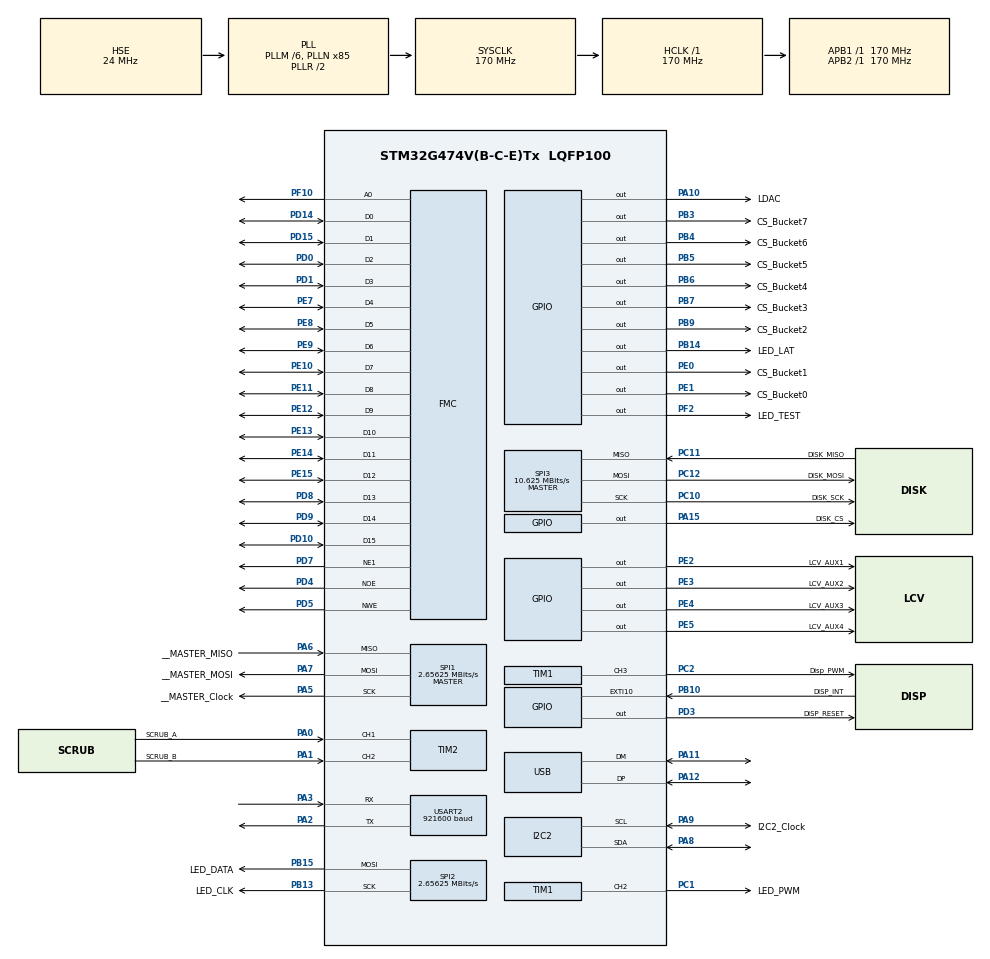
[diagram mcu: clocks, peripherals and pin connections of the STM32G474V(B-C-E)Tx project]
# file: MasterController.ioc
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Dma.Request0=SPI2_TX
Dma.SPI2_TX.0.Direction=DMA_MEMORY_TO_PERIPH
Dma.SPI2_TX.0.EventEnable=DISABLE
Dma.SPI2_TX.0.Instance=DMA1_Channel1
Dma.SPI2_TX.0.MemDataAlignment=DMA_MDATAALIGN_BYTE
Dma.SPI2_TX.0.MemInc=DMA_MINC_ENABLE
Dma.SPI2_TX.0.Mode=DMA_NORMAL
Dma.SPI2_TX.0.PeriphDataAlignment=DMA_PDATAALIGN_BYTE
Dma.SPI2_TX.0.PeriphInc=DMA_PINC_DISABLE
Dma.SPI2_TX.0.Polarity=HAL_DMAMUX_REQ_GEN_RISING
Dma.SPI2_TX.0.Priority=DMA_PRIORITY_LOW
Dma.SPI2_TX.0.RequestNumber=1
Dma.SPI2_TX.0.SignalID=NONE
Dma.SPI2_TX.0.SyncEnable=DISABLE
Dma.SPI2_TX.0.SyncPolarity=HAL_DMAMUX_SYNC_NO_EVENT
Dma.SPI2_TX.0.SyncRequestNumber=1
Dma.SPI2_TX.0.SyncSignalID=NONE
FREERTOS.Tasks01=defaultTask,24,128,StartDefaultTask,Default,NULL,Dynamic,NULL,NULL
FREERTOS.configTOTAL_HEAP_SIZE=32768
I2C2.Timing=0x40B285C2
Mcu.Family=STM32G4
Mcu.Name=STM32G474V(B-C-E)Tx
Mcu.Package=LQFP100
NVIC.DMA1_Channel1_IRQn=true\:5\:0\:false\:false\:true\:true\:false\:true\:true
NVIC.PriorityGroup=NVIC_PRIORITYGROUP_4
NVIC.SPI2_IRQn=true\:5\:0\:false\:false\:true\:true\:true\:true\:true
NVIC.TIM7_DAC_IRQn=true\:15\:0\:false\:false\:true\:false\:false\:true\:true
NVIC.TimeBase=TIM7_DAC_IRQn
NVIC.TimeBaseIP=TIM7
PA0.GPIO_Label=SCRUB_A
PA0.Signal=S_TIM2_CH1
PA1.GPIO_Label=SCRUB_B
PA1.Signal=S_TIM2_CH2
PA10.GPIO_Label=LDAC
PA10.Signal=GPIO_Output
PA11.Mode=Device
PA11.Signal=USB_DM
PA12.Mode=Device
PA12.Signal=USB_DP
PA13.GPIO_Label=SWD_SWDIO
PA13.Mode=Serial_Wire
PA13.Signal=SYS_JTMS-SWDIO
PA14.GPIO_Label=SWD_SWCLK
PA14.Mode=Serial_Wire
PA14.Signal=SYS_JTCK-SWCLK
PA15.GPIO_Label=DISK_CS
PA15.PinState=GPIO_PIN_SET
PA15.Signal=GPIO_Output
PA2.Mode=Asynchronous
PA2.Signal=USART2_TX
PA3.Mode=Asynchronous
PA3.Signal=USART2_RX
PA5.GPIO_Label=__MASTER_Clock
PA5.Mode=Full_Duplex_Master
PA5.Signal=SPI1_SCK
PA6.GPIO_Label=__MASTER_MISO
PA6.Mode=Full_Duplex_Master
PA6.Signal=SPI1_MISO
PA7.GPIO_Label=__MASTER_MOSI
PA7.Mode=Full_Duplex_Master
PA7.Signal=SPI1_MOSI
PA8.Mode=I2C
PA8.Signal=I2C2_SDA
PA9.GPIO_Label=I2C2_Clock
PA9.Mode=I2C
PA9.Signal=I2C2_SCL
PB10.GPIO_Label=DISP_INT
PB10.Signal=GPXTI10
PB13.GPIO_Label=LED_CLK
PB13.Mode=TX_Only_Simplex_Unidirect_Master
PB13.Signal=SPI2_SCK
PB14.GPIO_Label=LED_LAT
PB14.Signal=GPIO_Output
PB15.GPIO_Label=LED_DATA
PB15.Mode=TX_Only_Simplex_Unidirect_Master
PB15.Signal=SPI2_MOSI
PB3.GPIO_Label=CS_Bucket7
PB3.PinState=GPIO_PIN_SET
PB3.Signal=GPIO_Output
PB4.GPIO_Label=CS_Bucket6
PB4.PinState=GPIO_PIN_SET
PB4.Signal=GPIO_Output
PB5.GPIO_Label=CS_Bucket5
PB5.PinState=GPIO_PIN_SET
PB5.Signal=GPIO_Output
PB6.GPIO_Label=CS_Bucket4
PB6.PinState=GPIO_PIN_SET
PB6.Signal=GPIO_Output
PB7.GPIO_Label=CS_Bucket3
PB7.PinState=GPIO_PIN_SET
PB7.Signal=GPIO_Output
PB9.GPIO_Label=CS_Bucket2
PB9.PinState=GPIO_PIN_SET
PB9.Signal=GPIO_Output
PC1.GPIO_Label=LED_PWM
PC1.Signal=S_TIM1_CH2
PC10.GPIO_Label=DISK_SCK
PC10.Mode=Full_Duplex_Master
PC10.Signal=SPI3_SCK
PC11.GPIO_Label=DISK_MISO
PC11.Mode=Full_Duplex_Master
PC11.Signal=SPI3_MISO
PC12.GPIO_Label=DISK_MOSI
PC12.Mode=Full_Duplex_Master
PC12.Signal=SPI3_MOSI
PC2.GPIO_Label=Disp_PWM
PC2.Signal=S_TIM1_CH3
PD0.Mode=16b-d1
PD0.Signal=FMC_D2
PD1.Mode=16b-d1
PD1.Signal=FMC_D3
PD10.Mode=16b-d1
PD10.Signal=FMC_D15
PD14.Mode=16b-d1
PD14.Signal=FMC_D0
PD15.Mode=16b-d1
PD15.Signal=FMC_D1
PD3.GPIO_Label=DISP_RESET
PD3.GPIO_ModeDefaultOutputPP=GPIO_MODE_OUTPUT_OD
PD3.GPIO_PuPd=GPIO_NOPULL
PD3.Signal=GPIO_Output
PD4.Mode=Lcd1
PD4.Signal=FMC_NOE
PD5.Mode=Lcd1
PD5.Signal=FMC_NWE
PD6.Signal=FMC_NWAIT
PD7.Mode=NorPsramChipSelect1_1
PD7.Signal=FMC_NE1
PD8.Mode=16b-d1
PD8.Signal=FMC_D13
PD9.Mode=16b-d1
PD9.Signal=FMC_D14
PE0.GPIO_Label=CS_Bucket1
PE0.PinState=GPIO_PIN_SET
PE0.Signal=GPIO_Output
PE1.GPIO_Label=CS_Bucket0
PE1.PinState=GPIO_PIN_SET
PE1.Signal=GPIO_Output
PE10.Mode=16b-d1
PE10.Signal=FMC_D7
PE11.Mode=16b-d1
PE11.Signal=FMC_D8
PE12.Mode=16b-d1
PE12.Signal=FMC_D9
PE13.Mode=16b-d1
PE13.Signal=FMC_D10
PE14.Mode=16b-d1
PE14.Signal=FMC_D11
PE15.Mode=16b-d1
PE15.Signal=FMC_D12
PE2.GPIO_Label=LCV_AUX1
PE2.Signal=GPIO_Output
PE3.GPIO_Label=LCV_AUX2
PE3.Signal=GPIO_Output
PE4.GPIO_Label=LCV_AUX3
PE4.Signal=GPIO_Output
PE5.GPIO_Label=LCV_AUX4
PE5.Signal=GPIO_Output
PE7.Mode=16b-d1
PE7.Signal=FMC_D4
PE8.Mode=16b-d1
PE8.Signal=FMC_D5
PE9.Mode=16b-d1
PE9.Signal=FMC_D6
PF0-OSC_IN.GPIO_Label=_OSC_IN
PF0-OSC_IN.Mode=HSE-External-Oscillator
PF0-OSC_IN.Signal=RCC_OSC_IN
PF1-OSC_OUT.GPIO_Label=_OSC_OUT
PF1-OSC_OUT.Mode=HSE-External-Oscillator
PF1-OSC_OUT.Signal=RCC_OSC_OUT
PF10.Mode=A0_1
PF10.Signal=FMC_A0
PF2.GPIO_Label=LED_TEST
PF2.Signal=GPIO_Output
ProjectManager.HeapSize=0x200
ProjectManager.StackSize=0x400
ProjectManager.TargetToolchain=CMake
RCC.ADC12Freq_Value=170000000
RCC.ADC345Freq_Value=170000000
RCC.AHBFreq_Value=170000000
RCC.APB1Freq_Value=170000000
RCC.APB1TimFreq_Value=170000000
RCC.APB2Freq_Value=170000000
RCC.APB2TimFreq_Value=170000000
RCC.CK48CLockSelection=RCC_USBCLKSOURCE_HSI48
RCC.CortexFreq_Value=170000000
RCC.EXTERNAL_CLOCK_VALUE=12288000
RCC.HCLKFreq_Value=170000000
RCC.HSE_VALUE=24000000
RCC.HSI48_VALUE=48000000
RCC.HSI_VALUE=16000000
RCC.LSE_VALUE=32768
RCC.PLLM=RCC_PLLM_DIV6
RCC.PLLN=85
RCC.PLLSourceVirtual=RCC_PLLSOURCE_HSE
RCC.SYSCLKFreq_VALUE=170000000
RCC.SYSCLKSource=RCC_SYSCLKSOURCE_PLLCLK
RCC.USBFreq_Value=48000000
RCC.VCOOutputFreq_Value=340000000
SH.S_TIM1_CH2.0=TIM1_CH2,PWM Generation2 CH2
SH.S_TIM1_CH3.0=TIM1_CH3,PWM Generation3 CH3
SH.S_TIM2_CH1.0=TIM2_CH1,Encoder_Interface
SH.S_TIM2_CH2.0=TIM2_CH2,Encoder_Interface
SPI1.BaudRatePrescaler=SPI_BAUDRATEPRESCALER_64
SPI1.CalculateBaudRate=2.65625 MBits/s
SPI1.DataSize=SPI_DATASIZE_8BIT
SPI1.Direction=SPI_DIRECTION_2LINES
SPI1.Mode=SPI_MODE_MASTER
SPI1.NSSPMode=SPI_NSS_PULSE_DISABLE
SPI1.VirtualType=VM_MASTER
SPI2.BaudRatePrescaler=SPI_BAUDRATEPRESCALER_64
SPI2.CLKPhase=SPI_PHASE_2EDGE
SPI2.CalculateBaudRate=2.65625 MBits/s
SPI2.DataSize=SPI_DATASIZE_8BIT
SPI2.Direction=SPI_DIRECTION_2LINES
SPI2.Mode=SPI_MODE_MASTER
SPI2.VirtualType=VM_MASTER
SPI3.BaudRatePrescaler=SPI_BAUDRATEPRESCALER_16
SPI3.CalculateBaudRate=10.625 MBits/s
SPI3.Direction=SPI_DIRECTION_2LINES
SPI3.Mode=SPI_MODE_MASTER
SPI3.VirtualType=VM_MASTER
TIM1.Channel-PWM\ Generation2\ CH2=TIM_CHANNEL_2
TIM1.Channel-PWM\ Generation3\ CH3=TIM_CHANNEL_3
TIM1.PeriodNoDither=7083
USART2.BaudRate=921600
USART2.VirtualMode-Asynchronous=VM_ASYNC
VP_FATFS_VS_Generic.Mode=User_defined
VP_FREERTOS_VS_CMSIS_V2.Mode=CMSIS_V2
VP_RCC_VS_USB.Mode=USB_FS
VP_SYS_VS_DBSignals.Mode=DisableDeadBatterySignals
VP_SYS_VS_tim7.Mode=TIM7
board=custom

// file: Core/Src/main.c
/* USER CODE BEGIN Header */
/**
  ******************************************************************************
  * @file           : main.c
  * @brief          : Main program body
  ******************************************************************************
  * @attention
  *
  * Copyright (c) 2026 STMicroelectronics.
  * All rights reserved.
  *
  * This software is licensed under terms that can be found in the LICENSE file
  * in the root directory of this software component.
  * If no LICENSE file comes with this software, it is provided AS-IS.
  *
  ******************************************************************************
  */
/* USER CODE END Header */
#include "main.h"
#include "cmsis_os.h"
#include "app_fatfs.h"

/* USER CODE BEGIN Includes */
#include "FreeRTOS_apps/usb_device_task.h"
#include "hardware_drivers/bucket_spi.h"
#include "FreeRTOS_apps/remote_cmd_handler.h"
#include "FreeRTOS_apps/daw_control.h"
/* USER CODE END Includes */

I2C_HandleTypeDef hi2c2;

SPI_HandleTypeDef hspi1;
SPI_HandleTypeDef hspi2;
SPI_HandleTypeDef hspi3;
DMA_HandleTypeDef hdma_spi2_tx;

TIM_HandleTypeDef htim1;
TIM_HandleTypeDef htim2;

UART_HandleTypeDef huart2;

PCD_HandleTypeDef hpcd_USB_FS;

SRAM_HandleTypeDef hsram1;

/* Definitions for defaultTask */
osThreadId_t defaultTaskHandle;
const osThreadAttr_t defaultTask_attributes = {
  .name = "defaultTask",
  .priority = (osPriority_t) osPriorityNormal,
  .stack_size = 128 * 4
};

void SystemClock_Config(void);
static void MX_GPIO_Init(void);
static void MX_DMA_Init(void);
static void MX_I2C2_Init(void);
static void MX_SPI1_Init(void);
static void MX_SPI2_Init(void);
static void MX_SPI3_Init(void);
static void MX_TIM1_Init(void);
static void MX_USB_PCD_Init(void);
static void MX_FMC_Init(void);
static void MX_USART2_UART_Init(void);
static void MX_TIM2_Init(void);
void StartDefaultTask(void *argument);

int main(void)
{

  /* MCU Configuration--------------------------------------------------------*/

  /* Reset of all peripherals, Initializes the Flash interface and the Systick. */
  HAL_Init();

  /* Configure the system clock */
  SystemClock_Config();

  /* USER CODE BEGIN SysInit */
  // The USB clock (HSI48) has to be within 0.25% of 48 MHz. SystemClock_Config() sets the
  // CRS trim to 32, but on the G4 the trim is 7 bits with its middle at 64
  // (RCC_CRS_HSI48CALIBRATION_DEFAULT, about 67 kHz per step): 32 runs HSI48 about 2.1 MHz
  // (4.5%) slow, so USB can't receive a single packet, and the CRS never gets the
  // start-of-frame packets it would use to correct it. Start from the middle instead; the
  // CRS then fine-tunes it from the computer's start-of-frame packets once USB is running.
  // (Kept here because CubeMX regenerates SystemClock_Config with 32.)
  RCC_CRSInitTypeDef crs = {0};
  crs.Prescaler             = RCC_CRS_SYNC_DIV1;
  crs.Source                = RCC_CRS_SYNC_SOURCE_USB;
  crs.Polarity              = RCC_CRS_SYNC_POLARITY_RISING;
  crs.ReloadValue           = __HAL_RCC_CRS_RELOADVALUE_CALCULATE(48000000, 1000);
  crs.ErrorLimitValue       = RCC_CRS_ERRORLIMIT_DEFAULT;
  crs.HSI48CalibrationValue = RCC_CRS_HSI48CALIBRATION_DEFAULT;
  HAL_RCCEx_CRSConfig(&crs);
  /* USER CODE END SysInit */

  /* Initialize all configured peripherals */
  MX_GPIO_Init();
  MX_DMA_Init();
  MX_I2C2_Init();
  MX_SPI1_Init();
  MX_SPI2_Init();
  MX_SPI3_Init();
  MX_TIM1_Init();
  MX_USB_PCD_Init();
  if (MX_FATFS_Init() != APP_OK) {
    Error_Handler();
  }
  MX_FMC_Init();
  MX_USART2_UART_Init();
  MX_TIM2_Init();

  /* Init scheduler */
  osKernelInitialize();

  /* Create the thread(s) */
  /* creation of defaultTask */
  defaultTaskHandle = osThreadNew(StartDefaultTask, NULL, &defaultTask_attributes);

  /* USER CODE BEGIN RTOS_THREADS */
  usb_device_start();
  bucket_spi_init();
  remote_cmd_init();
  daw_control_init();
  /* USER CODE END RTOS_THREADS */

  /* Start scheduler */
  osKernelStart();

  /* We should never get here as control is now taken by the scheduler */

  /* Infinite loop */
  while (1)
  {

  }
}

void SystemClock_Config(void)
{
  RCC_OscInitTypeDef RCC_OscInitStruct = {0};
  RCC_ClkInitTypeDef RCC_ClkInitStruct = {0};
  RCC_CRSInitTypeDef pInit = {0};

  /** Configure the main internal regulator output voltage
  */
  HAL_PWREx_ControlVoltageScaling(PWR_REGULATOR_VOLTAGE_SCALE1_BOOST);

  /** Initializes the RCC Oscillators according to the specified parameters
  * in the RCC_OscInitTypeDef structure.
  */
  RCC_OscInitStruct.OscillatorType = RCC_OSCILLATORTYPE_HSI48|RCC_OSCILLATORTYPE_HSE;
  RCC_OscInitStruct.HSEState = RCC_HSE_ON;
  RCC_OscInitStruct.HSI48State = RCC_HSI48_ON;
  RCC_OscInitStruct.PLL.PLLState = RCC_PLL_ON;
  RCC_OscInitStruct.PLL.PLLSource = RCC_PLLSOURCE_HSE;
  RCC_OscInitStruct.PLL.PLLM = RCC_PLLM_DIV6;
  RCC_OscInitStruct.PLL.PLLN = 85;
  RCC_OscInitStruct.PLL.PLLP = RCC_PLLP_DIV2;
  RCC_OscInitStruct.PLL.PLLQ = RCC_PLLQ_DIV2;
  RCC_OscInitStruct.PLL.PLLR = RCC_PLLR_DIV2;
  if (HAL_RCC_OscConfig(&RCC_OscInitStruct) != HAL_OK)
  {
    Error_Handler();
  }

  /** Initializes the CPU, AHB and APB buses clocks
  */
  RCC_ClkInitStruct.ClockType = RCC_CLOCKTYPE_HCLK|RCC_CLOCKTYPE_SYSCLK
                              |RCC_CLOCKTYPE_PCLK1|RCC_CLOCKTYPE_PCLK2;
  RCC_ClkInitStruct.SYSCLKSource = RCC_SYSCLKSOURCE_PLLCLK;
  RCC_ClkInitStruct.AHBCLKDivider = RCC_SYSCLK_DIV1;
  RCC_ClkInitStruct.APB1CLKDivider = RCC_HCLK_DIV1;
  RCC_ClkInitStruct.APB2CLKDivider = RCC_HCLK_DIV1;

  if (HAL_RCC_ClockConfig(&RCC_ClkInitStruct, FLASH_LATENCY_4) != HAL_OK)
  {
    Error_Handler();
  }

  /** Enable the SYSCFG APB clock
  */
  __HAL_RCC_CRS_CLK_ENABLE();

  /** Configures CRS
  */
  pInit.Prescaler = RCC_CRS_SYNC_DIV1;
  pInit.Source = RCC_CRS_SYNC_SOURCE_USB;
  pInit.Polarity = RCC_CRS_SYNC_POLARITY_RISING;
  pInit.ReloadValue = __HAL_RCC_CRS_RELOADVALUE_CALCULATE(48000000,1000);
  pInit.ErrorLimitValue = 34;
  pInit.HSI48CalibrationValue = 32;

  HAL_RCCEx_CRSConfig(&pInit);
}

static void MX_I2C2_Init(void)
{

  hi2c2.Instance = I2C2;
  hi2c2.Init.Timing = 0x40B285C2;
  hi2c2.Init.OwnAddress1 = 0;
  hi2c2.Init.AddressingMode = I2C_ADDRESSINGMODE_7BIT;
  hi2c2.Init.DualAddressMode = I2C_DUALADDRESS_DISABLE;
  hi2c2.Init.OwnAddress2 = 0;
  hi2c2.Init.OwnAddress2Masks = I2C_OA2_NOMASK;
  hi2c2.Init.GeneralCallMode = I2C_GENERALCALL_DISABLE;
  hi2c2.Init.NoStretchMode = I2C_NOSTRETCH_DISABLE;
  if (HAL_I2C_Init(&hi2c2) != HAL_OK)
  {
    Error_Handler();
  }

  /** Configure Analogue filter
  */
  if (HAL_I2CEx_ConfigAnalogFilter(&hi2c2, I2C_ANALOGFILTER_ENABLE) != HAL_OK)
  {
    Error_Handler();
  }

  /** Configure Digital filter
  */
  if (HAL_I2CEx_ConfigDigitalFilter(&hi2c2, 0) != HAL_OK)
  {
    Error_Handler();
  }

}

static void MX_SPI1_Init(void)
{

  /* SPI1 parameter configuration*/
  hspi1.Instance = SPI1;
  hspi1.Init.Mode = SPI_MODE_MASTER;
  hspi1.Init.Direction = SPI_DIRECTION_2LINES;
  hspi1.Init.DataSize = SPI_DATASIZE_8BIT;
  hspi1.Init.CLKPolarity = SPI_POLARITY_LOW;
  hspi1.Init.CLKPhase = SPI_PHASE_1EDGE;
  hspi1.Init.NSS = SPI_NSS_SOFT;
  hspi1.Init.BaudRatePrescaler = SPI_BAUDRATEPRESCALER_64;
  hspi1.Init.FirstBit = SPI_FIRSTBIT_MSB;
  hspi1.Init.TIMode = SPI_TIMODE_DISABLE;
  hspi1.Init.CRCCalculation = SPI_CRCCALCULATION_DISABLE;
  hspi1.Init.CRCPolynomial = 7;
  hspi1.Init.CRCLength = SPI_CRC_LENGTH_DATASIZE;
  hspi1.Init.NSSPMode = SPI_NSS_PULSE_DISABLE;
  if (HAL_SPI_Init(&hspi1) != HAL_OK)
  {
    Error_Handler();
  }

}

static void MX_SPI2_Init(void)
{

  /* SPI2 parameter configuration*/
  hspi2.Instance = SPI2;
  hspi2.Init.Mode = SPI_MODE_MASTER;
  hspi2.Init.Direction = SPI_DIRECTION_2LINES;
  hspi2.Init.DataSize = SPI_DATASIZE_8BIT;
  hspi2.Init.CLKPolarity = SPI_POLARITY_LOW;
  hspi2.Init.CLKPhase = SPI_PHASE_2EDGE;
  hspi2.Init.NSS = SPI_NSS_SOFT;
  hspi2.Init.BaudRatePrescaler = SPI_BAUDRATEPRESCALER_64;
  hspi2.Init.FirstBit = SPI_FIRSTBIT_MSB;
  hspi2.Init.TIMode = SPI_TIMODE_DISABLE;
  hspi2.Init.CRCCalculation = SPI_CRCCALCULATION_DISABLE;
  hspi2.Init.CRCPolynomial = 7;
  hspi2.Init.CRCLength = SPI_CRC_LENGTH_DATASIZE;
  hspi2.Init.NSSPMode = SPI_NSS_PULSE_DISABLE;
  if (HAL_SPI_Init(&hspi2) != HAL_OK)
  {
    Error_Handler();
  }

}

static void MX_SPI3_Init(void)
{

  /* SPI3 parameter configuration*/
  hspi3.Instance = SPI3;
  hspi3.Init.Mode = SPI_MODE_MASTER;
  hspi3.Init.Direction = SPI_DIRECTION_2LINES;
  hspi3.Init.DataSize = SPI_DATASIZE_4BIT;
  hspi3.Init.CLKPolarity = SPI_POLARITY_LOW;
  hspi3.Init.CLKPhase = SPI_PHASE_1EDGE;
  hspi3.Init.NSS = SPI_NSS_SOFT;
  hspi3.Init.BaudRatePrescaler = SPI_BAUDRATEPRESCALER_16;
  hspi3.Init.FirstBit = SPI_FIRSTBIT_MSB;
  hspi3.Init.TIMode = SPI_TIMODE_DISABLE;
  hspi3.Init.CRCCalculation = SPI_CRCCALCULATION_DISABLE;
  hspi3.Init.CRCPolynomial = 7;
  hspi3.Init.CRCLength = SPI_CRC_LENGTH_DATASIZE;
  hspi3.Init.NSSPMode = SPI_NSS_PULSE_ENABLE;
  if (HAL_SPI_Init(&hspi3) != HAL_OK)
  {
    Error_Handler();
  }

}

static void MX_TIM1_Init(void)
{

  TIM_MasterConfigTypeDef sMasterConfig = {0};
  TIM_OC_InitTypeDef sConfigOC = {0};
  TIM_BreakDeadTimeConfigTypeDef sBreakDeadTimeConfig = {0};

  htim1.Instance = TIM1;
  htim1.Init.Prescaler = 0;
  htim1.Init.CounterMode = TIM_COUNTERMODE_UP;
  htim1.Init.Period = 7083;
  htim1.Init.ClockDivision = TIM_CLOCKDIVISION_DIV1;
  htim1.Init.RepetitionCounter = 0;
  htim1.Init.AutoReloadPreload = TIM_AUTORELOAD_PRELOAD_DISABLE;
  if (HAL_TIM_PWM_Init(&htim1) != HAL_OK)
  {
    Error_Handler();
  }
  sMasterConfig.MasterOutputTrigger = TIM_TRGO_RESET;
  sMasterConfig.MasterOutputTrigger2 = TIM_TRGO2_RESET;
  sMasterConfig.MasterSlaveMode = TIM_MASTERSLAVEMODE_DISABLE;
  if (HAL_TIMEx_MasterConfigSynchronization(&htim1, &sMasterConfig) != HAL_OK)
  {
    Error_Handler();
  }
  sConfigOC.OCMode = TIM_OCMODE_PWM1;
  sConfigOC.Pulse = 0;
  sConfigOC.OCPolarity = TIM_OCPOLARITY_HIGH;
  sConfigOC.OCNPolarity = TIM_OCNPOLARITY_HIGH;
  sConfigOC.OCFastMode = TIM_OCFAST_DISABLE;
  sConfigOC.OCIdleState = TIM_OCIDLESTATE_RESET;
  sConfigOC.OCNIdleState = TIM_OCNIDLESTATE_RESET;
  if (HAL_TIM_PWM_ConfigChannel(&htim1, &sConfigOC, TIM_CHANNEL_2) != HAL_OK)
  {
    Error_Handler();
  }
  if (HAL_TIM_PWM_ConfigChannel(&htim1, &sConfigOC, TIM_CHANNEL_3) != HAL_OK)
  {
    Error_Handler();
  }
  sBreakDeadTimeConfig.OffStateRunMode = TIM_OSSR_DISABLE;
  sBreakDeadTimeConfig.OffStateIDLEMode = TIM_OSSI_DISABLE;
  sBreakDeadTimeConfig.LockLevel = TIM_LOCKLEVEL_OFF;
  sBreakDeadTimeConfig.DeadTime = 0;
  sBreakDeadTimeConfig.BreakState = TIM_BREAK_DISABLE;
  sBreakDeadTimeConfig.BreakPolarity = TIM_BREAKPOLARITY_HIGH;
  sBreakDeadTimeConfig.BreakFilter = 0;
  sBreakDeadTimeConfig.BreakAFMode = TIM_BREAK_AFMODE_INPUT;
  sBreakDeadTimeConfig.Break2State = TIM_BREAK2_DISABLE;
  sBreakDeadTimeConfig.Break2Polarity = TIM_BREAK2POLARITY_HIGH;
  sBreakDeadTimeConfig.Break2Filter = 0;
  sBreakDeadTimeConfig.Break2AFMode = TIM_BREAK_AFMODE_INPUT;
  sBreakDeadTimeConfig.AutomaticOutput = TIM_AUTOMATICOUTPUT_DISABLE;
  if (HAL_TIMEx_ConfigBreakDeadTime(&htim1, &sBreakDeadTimeConfig) != HAL_OK)
  {
    Error_Handler();
  }
  HAL_TIM_MspPostInit(&htim1);

}

static void MX_TIM2_Init(void)
{

  TIM_Encoder_InitTypeDef sConfig = {0};
  TIM_MasterConfigTypeDef sMasterConfig = {0};

  htim2.Instance = TIM2;
  htim2.Init.Prescaler = 0;
  htim2.Init.CounterMode = TIM_COUNTERMODE_UP;
  htim2.Init.Period = 4294967295;
  htim2.Init.ClockDivision = TIM_CLOCKDIVISION_DIV1;
  htim2.Init.AutoReloadPreload = TIM_AUTORELOAD_PRELOAD_DISABLE;
  sConfig.EncoderMode = TIM_ENCODERMODE_TI1;
  sConfig.IC1Polarity = TIM_ICPOLARITY_RISING;
  sConfig.IC1Selection = TIM_ICSELECTION_DIRECTTI;
  sConfig.IC1Prescaler = TIM_ICPSC_DIV1;
  sConfig.IC1Filter = 0;
  sConfig.IC2Polarity = TIM_ICPOLARITY_RISING;
  sConfig.IC2Selection = TIM_ICSELECTION_DIRECTTI;
  sConfig.IC2Prescaler = TIM_ICPSC_DIV1;
  sConfig.IC2Filter = 0;
  if (HAL_TIM_Encoder_Init(&htim2, &sConfig) != HAL_OK)
  {
    Error_Handler();
  }
  sMasterConfig.MasterOutputTrigger = TIM_TRGO_RESET;
  sMasterConfig.MasterSlaveMode = TIM_MASTERSLAVEMODE_DISABLE;
  if (HAL_TIMEx_MasterConfigSynchronization(&htim2, &sMasterConfig) != HAL_OK)
  {
    Error_Handler();
  }

}

static void MX_USART2_UART_Init(void)
{

  huart2.Instance = USART2;
  huart2.Init.BaudRate = 921600;
  huart2.Init.WordLength = UART_WORDLENGTH_8B;
  huart2.Init.StopBits = UART_STOPBITS_1;
  huart2.Init.Parity = UART_PARITY_NONE;
  huart2.Init.Mode = UART_MODE_TX_RX;
  huart2.Init.HwFlowCtl = UART_HWCONTROL_NONE;
  huart2.Init.OverSampling = UART_OVERSAMPLING_16;
  huart2.Init.OneBitSampling = UART_ONE_BIT_SAMPLE_DISABLE;
  huart2.Init.ClockPrescaler = UART_PRESCALER_DIV1;
  huart2.AdvancedInit.AdvFeatureInit = UART_ADVFEATURE_NO_INIT;
  if (HAL_UART_Init(&huart2) != HAL_OK)
  {
    Error_Handler();
  }
  if (HAL_UARTEx_SetTxFifoThreshold(&huart2, UART_TXFIFO_THRESHOLD_1_8) != HAL_OK)
  {
    Error_Handler();
  }
  if (HAL_UARTEx_SetRxFifoThreshold(&huart2, UART_RXFIFO_THRESHOLD_1_8) != HAL_OK)
  {
    Error_Handler();
  }
  if (HAL_UARTEx_DisableFifoMode(&huart2) != HAL_OK)
  {
    Error_Handler();
  }

}

static void MX_USB_PCD_Init(void)
{

  hpcd_USB_FS.Instance = USB;
  hpcd_USB_FS.Init.dev_endpoints = 8;
  hpcd_USB_FS.Init.speed = PCD_SPEED_FULL;
  hpcd_USB_FS.Init.phy_itface = PCD_PHY_EMBEDDED;
  hpcd_USB_FS.Init.Sof_enable = DISABLE;
  hpcd_USB_FS.Init.low_power_enable = DISABLE;
  hpcd_USB_FS.Init.lpm_enable = DISABLE;
  hpcd_USB_FS.Init.battery_charging_enable = DISABLE;
  if (HAL_PCD_Init(&hpcd_USB_FS) != HAL_OK)
  {
    Error_Handler();
  }

}

static void MX_DMA_Init(void)
{

  /* DMA controller clock enable */
  __HAL_RCC_DMAMUX1_CLK_ENABLE();
  __HAL_RCC_DMA1_CLK_ENABLE();

  /* DMA interrupt init */
  /* DMA1_Channel1_IRQn interrupt configuration */
  HAL_NVIC_SetPriority(DMA1_Channel1_IRQn, 5, 0);
  HAL_NVIC_EnableIRQ(DMA1_Channel1_IRQn);

}

/* FMC initialization function */
static void MX_FMC_Init(void)
{

  FMC_NORSRAM_TimingTypeDef Timing = {0};

  /** Perform the SRAM1 memory initialization sequence
  */
  hsram1.Instance = FMC_NORSRAM_DEVICE;
  hsram1.Extended = FMC_NORSRAM_EXTENDED_DEVICE;
  /* hsram1.Init */
  hsram1.Init.NSBank = FMC_NORSRAM_BANK1;
  hsram1.Init.DataAddressMux = FMC_DATA_ADDRESS_MUX_DISABLE;
  hsram1.Init.MemoryType = FMC_MEMORY_TYPE_SRAM;
  hsram1.Init.MemoryDataWidth = FMC_NORSRAM_MEM_BUS_WIDTH_16;
  hsram1.Init.BurstAccessMode = FMC_BURST_ACCESS_MODE_DISABLE;
  hsram1.Init.WaitSignalPolarity = FMC_WAIT_SIGNAL_POLARITY_LOW;
  hsram1.Init.WaitSignalActive = FMC_WAIT_TIMING_BEFORE_WS;
  hsram1.Init.WriteOperation = FMC_WRITE_OPERATION_ENABLE;
  hsram1.Init.WaitSignal = FMC_WAIT_SIGNAL_DISABLE;
  hsram1.Init.ExtendedMode = FMC_EXTENDED_MODE_DISABLE;
  hsram1.Init.AsynchronousWait = FMC_ASYNCHRONOUS_WAIT_DISABLE;
  hsram1.Init.WriteBurst = FMC_WRITE_BURST_DISABLE;
  hsram1.Init.ContinuousClock = FMC_CONTINUOUS_CLOCK_SYNC_ONLY;
  hsram1.Init.WriteFifo = FMC_WRITE_FIFO_ENABLE;
  hsram1.Init.NBLSetupTime = 0;
  hsram1.Init.PageSize = FMC_PAGE_SIZE_NONE;
  hsram1.Init.MaxChipSelectPulse = DISABLE;
  /* Timing */
  Timing.AddressSetupTime = 15;
  Timing.AddressHoldTime = 15;
  Timing.DataSetupTime = 255;
  Timing.DataHoldTime = 0;
  Timing.BusTurnAroundDuration = 15;
  Timing.CLKDivision = 16;
  Timing.DataLatency = 17;
  Timing.AccessMode = FMC_ACCESS_MODE_A;
  /* ExtTiming */

  if (HAL_SRAM_Init(&hsram1, &Timing, NULL) != HAL_OK)
  {
    Error_Handler( );
  }

  /* USER CODE BEGIN FMC_Init 2 */
  // The display's WAIT output on PD6 (FMC_NWAIT): the FMC holds each transfer while the LT7683
  // pulls it low. CubeMX's LCD Interface mode has no wait option, so it's set up here.
  GPIO_InitTypeDef nwait = {0};
  nwait.Pin       = GPIO_PIN_6;
  nwait.Mode      = GPIO_MODE_AF_PP;
  nwait.Pull      = GPIO_PULLUP;            // with no display attached, never wait forever
  nwait.Speed     = GPIO_SPEED_FREQ_VERY_HIGH;
  nwait.Alternate = GPIO_AF12_FMC;
  HAL_GPIO_Init(GPIOD, &nwait);

  hsram1.Init.AsynchronousWait = FMC_ASYNCHRONOUS_WAIT_ENABLE; // kept if HAL_SRAM_Init runs again
  FMC_Bank1_R->BTCR[0] |= FMC_BCRx_ASYNCWAIT;                  // bank 1 (NE1): honour NWAIT now

  /* USER CODE END FMC_Init 2 */
}

static void MX_GPIO_Init(void)
{
  GPIO_InitTypeDef GPIO_InitStruct = {0};

  /* GPIO Ports Clock Enable */
  __HAL_RCC_GPIOE_CLK_ENABLE();
  __HAL_RCC_GPIOF_CLK_ENABLE();
  __HAL_RCC_GPIOC_CLK_ENABLE();
  __HAL_RCC_GPIOA_CLK_ENABLE();
  __HAL_RCC_GPIOB_CLK_ENABLE();
  __HAL_RCC_GPIOD_CLK_ENABLE();

  /*Configure GPIO pin Output Level */
  HAL_GPIO_WritePin(GPIOE, LCV_AUX1_Pin|LCV_AUX2_Pin|LCV_AUX3_Pin|LCV_AUX4_Pin, GPIO_PIN_RESET);

  /*Configure GPIO pin Output Level */
  HAL_GPIO_WritePin(LED_TEST_GPIO_Port, LED_TEST_Pin, GPIO_PIN_RESET);

  /*Configure GPIO pin Output Level */
  HAL_GPIO_WritePin(LED_LAT_GPIO_Port, LED_LAT_Pin, GPIO_PIN_RESET);

  /*Configure GPIO pin Output Level */
  HAL_GPIO_WritePin(LDAC_GPIO_Port, LDAC_Pin, GPIO_PIN_RESET);

  /*Configure GPIO pin Output Level */
  HAL_GPIO_WritePin(DISK_CS_GPIO_Port, DISK_CS_Pin, GPIO_PIN_SET);

  /*Configure GPIO pin Output Level */
  HAL_GPIO_WritePin(DISP_RESET_GPIO_Port, DISP_RESET_Pin, GPIO_PIN_RESET);

  /*Configure GPIO pin Output Level */
  HAL_GPIO_WritePin(GPIOB, CS_Bucket7_Pin|CS_Bucket6_Pin|CS_Bucket5_Pin|CS_Bucket4_Pin
                          |CS_Bucket3_Pin|CS_Bucket2_Pin, GPIO_PIN_SET);

  /*Configure GPIO pin Output Level */
  HAL_GPIO_WritePin(GPIOE, CS_Bucket1_Pin|CS_Bucket0_Pin, GPIO_PIN_SET);

  /*Configure GPIO pins : LCV_AUX1_Pin LCV_AUX2_Pin LCV_AUX3_Pin LCV_AUX4_Pin
                           CS_Bucket1_Pin CS_Bucket0_Pin */
  GPIO_InitStruct.Pin = LCV_AUX1_Pin|LCV_AUX2_Pin|LCV_AUX3_Pin|LCV_AUX4_Pin
                          |CS_Bucket1_Pin|CS_Bucket0_Pin;
  GPIO_InitStruct.Mode = GPIO_MODE_OUTPUT_PP;
  GPIO_InitStruct.Pull = GPIO_NOPULL;
  GPIO_InitStruct.Speed = GPIO_SPEED_FREQ_LOW;
  HAL_GPIO_Init(GPIOE, &GPIO_InitStruct);

  /*Configure GPIO pin : LED_TEST_Pin */
  GPIO_InitStruct.Pin = LED_TEST_Pin;
  GPIO_InitStruct.Mode = GPIO_MODE_OUTPUT_PP;
  GPIO_InitStruct.Pull = GPIO_NOPULL;
  GPIO_InitStruct.Speed = GPIO_SPEED_FREQ_LOW;
  HAL_GPIO_Init(LED_TEST_GPIO_Port, &GPIO_InitStruct);

  /*Configure GPIO pin : DISP_INT_Pin */
  GPIO_InitStruct.Pin = DISP_INT_Pin;
  GPIO_InitStruct.Mode = GPIO_MODE_IT_RISING;
  GPIO_InitStruct.Pull = GPIO_NOPULL;
  HAL_GPIO_Init(DISP_INT_GPIO_Port, &GPIO_InitStruct);

  /*Configure GPIO pins : LED_LAT_Pin CS_Bucket7_Pin CS_Bucket6_Pin CS_Bucket5_Pin
                           CS_Bucket4_Pin CS_Bucket3_Pin CS_Bucket2_Pin */
  GPIO_InitStruct.Pin = LED_LAT_Pin|CS_Bucket7_Pin|CS_Bucket6_Pin|CS_Bucket5_Pin
                          |CS_Bucket4_Pin|CS_Bucket3_Pin|CS_Bucket2_Pin;
  GPIO_InitStruct.Mode = GPIO_MODE_OUTPUT_PP;
  GPIO_InitStruct.Pull = GPIO_NOPULL;
  GPIO_InitStruct.Speed = GPIO_SPEED_FREQ_LOW;
  HAL_GPIO_Init(GPIOB, &GPIO_InitStruct);

  /*Configure GPIO pins : LDAC_Pin DISK_CS_Pin */
  GPIO_InitStruct.Pin = LDAC_Pin|DISK_CS_Pin;
  GPIO_InitStruct.Mode = GPIO_MODE_OUTPUT_PP;
  GPIO_InitStruct.Pull = GPIO_NOPULL;
  GPIO_InitStruct.Speed = GPIO_SPEED_FREQ_LOW;
  HAL_GPIO_Init(GPIOA, &GPIO_InitStruct);

  /*Configure GPIO pin : DISP_RESET_Pin */
  GPIO_InitStruct.Pin = DISP_RESET_Pin;
  GPIO_InitStruct.Mode = GPIO_MODE_OUTPUT_OD;
  GPIO_InitStruct.Pull = GPIO_NOPULL;
  GPIO_InitStruct.Speed = GPIO_SPEED_FREQ_LOW;
  HAL_GPIO_Init(DISP_RESET_GPIO_Port, &GPIO_InitStruct);

}

void StartDefaultTask(void *argument)
{
  for(;;)
  {
    osDelay(1);
  }
}

void HAL_TIM_PeriodElapsedCallback(TIM_HandleTypeDef *htim)
{
  if (htim->Instance == TIM7)
  {
    HAL_IncTick();
  }
}

void Error_Handler(void)
{
  __disable_irq();
  while (1)
  {
  }
}
